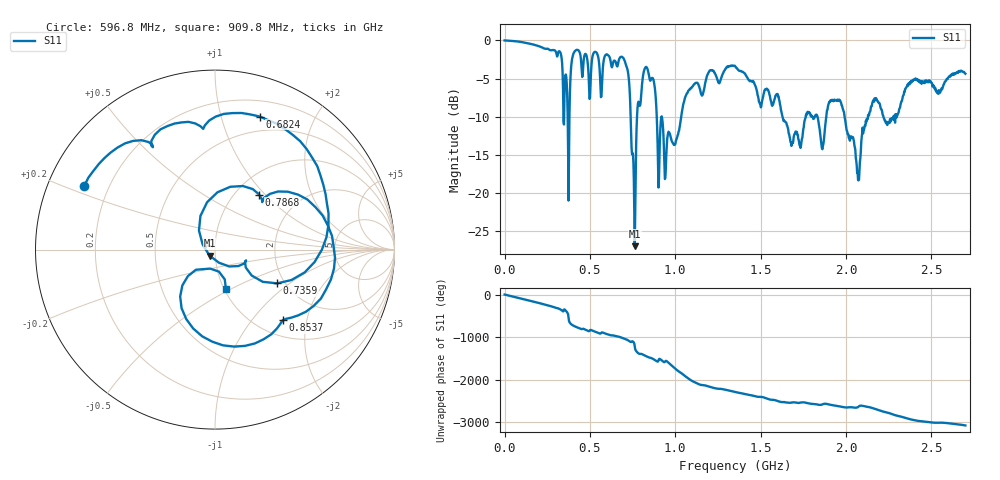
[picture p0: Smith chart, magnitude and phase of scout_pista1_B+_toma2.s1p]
! scout_pista1_B+_toma2 (sin descontar el latiguillo)
! 2026-10-30T16:28:20
# HZ S RI R 50
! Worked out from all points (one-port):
!   1010 points, 50 kHz to 2.7 GHz, reference 50 ohm
!   lowest |S11| = -26.9 dB at 762.7 MHz (marker M1), VSWR 1.09, Z = 46.9 - j3.11 ohm
!   |S11| at or under -10 dB: 921.2 MHz to 1.034 GHz (113.2 MHz wide, 11.6 % of centre); 1.629 GHz to 1.764 GHz (135.4 MHz wide, 7.98 % of centre); 1.992 GHz to 2.129 GHz (136.4 MHz wide, 6.62 % of centre)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
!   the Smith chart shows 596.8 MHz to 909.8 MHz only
!   S11 on the Smith chart (normalised r, x): 596.8 MHz: 0.11, +0.23; 682.4 MHz: 0.35, +1.33; 735.9 MHz: 1.83, -0.81; 786.8 MHz: 1.28, +0.93; 853.7 MHz: 1.29, -1.45; 909.8 MHz: 1.02, -0.47
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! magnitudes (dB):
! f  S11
! 50 kHz  0.0
! 318.5 MHz  -1.4
! 339.9 MHz  -4.2
! 372 MHz  -14.1
! 412.1 MHz  -1.4
! 596.8 MHz  -1.8
! 677 MHz  -2.2
! 682.4 MHz  -2.1
! 735.9 MHz  -8.1
! 752 MHz  -14.9
! 762.7 MHz  -26.9
! 786.8 MHz  -8.1
! 853.7 MHz  -5.3
! 909.8 MHz  -12.9
! 1.014 GHz  -12.4
! 1.086 GHz  -6.4
! 1.351 GHz  -3.4
! 1.598 GHz  -7.0
! 1.689 GHz  -13.4
! 1.78 GHz  -9.5
! 1.862 GHz  -14.2
! 1.927 GHz  -8.0
! 2.026 GHz  -12.7
! 2.071 GHz  -18.3
! 2.162 GHz  -7.8
! 2.248 GHz  -10.7
! 2.363 GHz  -5.9
! 2.7 GHz  -4.4
